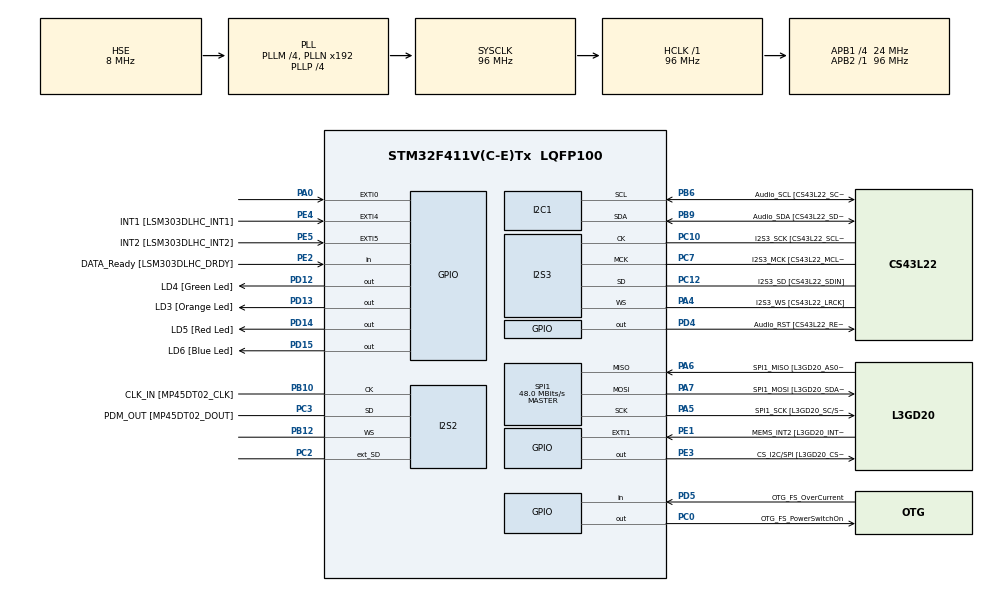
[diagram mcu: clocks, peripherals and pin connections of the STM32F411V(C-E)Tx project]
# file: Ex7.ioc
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FREERTOS.INCLUDE_vTaskDelayUntil=1
FREERTOS.Tasks01=FlashGreenLed,0,128,StartFlashGreenLedTask,Default,NULL,Dynamic,NULL,NULL;FlashRedLed,0,128,StartFlashRedLedTask,Default,NULL,Dynamic,NULL,NULL;FlashOrangeLed,1,128,StartFlashOrangeLedTask,Default,NULL,Dynamic,NULL,NULL
FREERTOS.configUSE_NEWLIB_REENTRANT=1
I2S2.AudioFreq=I2S_AUDIOFREQ_96K
I2S2.ErrorAudioFreq=0.15 %
I2S2.FullDuplexMode=I2S_FULLDUPLEXMODE_ENABLE
I2S2.Instance=SPI$Index
I2S2.RealAudioFreq=96.153 KHz
I2S2.VirtualMode=I2S_MODE_MASTER
I2S3.AudioFreq=I2S_AUDIOFREQ_96K
I2S3.ErrorAudioFreq=-6.99 %
I2S3.FullDuplexMode=I2S_FULLDUPLEXMODE_DISABLE
I2S3.Instance=SPI$Index
I2S3.RealAudioFreq=89.285 KHz
I2S3.VirtualMode=I2S_MODE_MASTER
Mcu.Family=STM32F4
Mcu.Name=STM32F411V(C-E)Tx
Mcu.Package=LQFP100
NVIC.PriorityGroup=NVIC_PRIORITYGROUP_4
NVIC.TIM1_UP_TIM10_IRQn=true\:15\:0\:false\:false\:true\:false\:false\:true\:true
NVIC.TimeBase=TIM1_UP_TIM10_IRQn
NVIC.TimeBaseIP=TIM1
PA0-WKUP.GPIO_ModeDefaultEXTI=GPIO_MODE_EVT_RISING
PA0-WKUP.Signal=GPXTI0
PA10.GPIO_Label=OTG_FS_ID
PA10.Signal=USB_OTG_FS_ID
PA11.GPIO_Label=OTG_FS_DM
PA11.Signal=USB_OTG_FS_DM
PA12.GPIO_Label=OTG_FS_DP
PA12.Signal=USB_OTG_FS_DP
PA13.GPIO_Label=SWDIO
PA13.Mode=Serial_Wire
PA13.Signal=SYS_JTMS-SWDIO
PA14.GPIO_Label=SWCLK
PA14.Mode=Serial_Wire
PA14.Signal=SYS_JTCK-SWCLK
PA4.GPIO_Label=I2S3_WS [CS43L22_LRCK]
PA4.GPIO_Mode=GPIO_MODE_AF_PP
PA4.GPIO_PuPd=GPIO_NOPULL
PA4.GPIO_Speed=GPIO_SPEED_FREQ_LOW
PA4.Mode=Half_Duplex_Master
PA4.Signal=I2S3_WS
PA5.GPIO_Label=SPI1_SCK [L3GD20_SC/SPC]
PA5.Mode=Full_Duplex_Master
PA5.Signal=SPI1_SCK
PA6.GPIO_Label=SPI1_MISO [L3GD20_AS0/SDO]
PA6.Mode=Full_Duplex_Master
PA6.Signal=SPI1_MISO
PA7.GPIO_Label=SPI1_MOSI [L3GD20_SDA/SDI/SDO]
PA7.Mode=Full_Duplex_Master
PA7.Signal=SPI1_MOSI
PA9.GPIO_Label=VBUS_FS
PA9.Signal=USB_OTG_FS_VBUS
PB10.GPIO_Label=CLK_IN [MP45DT02_CLK]
PB10.Mode=Full_Duplex_Master
PB10.Signal=I2S2_CK
PB12.Mode=Full_Duplex_Master
PB12.Signal=I2S2_WS
PB3.GPIO_Label=SWO
PB3.Signal=SYS_JTDO-SWO
PB6.GPIO_Label=Audio_SCL [CS43L22_SCL]
PB6.GPIO_Mode=GPIO_MODE_AF_OD
PB6.GPIO_Pu=GPIO_PULLUP
PB6.GPIO_PuPd=GPIO_NOPULL
PB6.GPIO_Speed=GPIO_SPEED_FREQ_LOW
PB6.Mode=I2C
PB6.Signal=I2C1_SCL
PB9.GPIO_Label=Audio_SDA [CS43L22_SDA]
PB9.GPIO_Mode=GPIO_MODE_AF_OD
PB9.GPIO_Pu=GPIO_PULLUP
PB9.GPIO_PuPd=GPIO_NOPULL
PB9.GPIO_Speed=GPIO_SPEED_FREQ_LOW
PB9.Mode=I2C
PB9.Signal=I2C1_SDA
PC0.GPIO_Label=OTG_FS_PowerSwitchOn
PC0.PinState=GPIO_PIN_SET
PC0.Signal=GPIO_Output
PC10.GPIO_Label=I2S3_SCK [CS43L22_SCLK]
PC10.GPIO_Mode=GPIO_MODE_AF_PP
PC10.GPIO_PuPd=GPIO_NOPULL
PC10.GPIO_Speed=GPIO_SPEED_FREQ_LOW
PC10.Mode=Half_Duplex_Master
PC10.Signal=I2S3_CK
PC12.GPIO_Label=I2S3_SD [CS43L22_SDIN]
PC12.GPIO_Mode=GPIO_MODE_AF_PP
PC12.GPIO_PuPd=GPIO_NOPULL
PC12.GPIO_Speed=GPIO_SPEED_FREQ_LOW
PC12.Mode=Half_Duplex_Master
PC12.Signal=I2S3_SD
PC14-OSC32_IN.GPIO_Label=PC14-OSC32_IN
PC14-OSC32_IN.Mode=LSE-External-Oscillator
PC14-OSC32_IN.Signal=RCC_OSC32_IN
PC15-OSC32_OUT.GPIO_Label=PC15-OSC32_OUT
PC15-OSC32_OUT.Mode=LSE-External-Oscillator
PC15-OSC32_OUT.Signal=RCC_OSC32_OUT
PC2.Mode=Full_Duplex_Master
PC2.Signal=I2S2_ext_SD
PC3.GPIO_Label=PDM_OUT [MP45DT02_DOUT]
PC3.Mode=Full_Duplex_Master
PC3.Signal=I2S2_SD
PC7.GPIO_Label=I2S3_MCK [CS43L22_MCLK]
PC7.GPIO_Mode=GPIO_MODE_AF_PP
PC7.GPIO_PuPd=GPIO_NOPULL
PC7.GPIO_Speed=GPIO_SPEED_FREQ_LOW
PC7.Mode=Master_Clock_Activated
PC7.Signal=I2S3_MCK
PD12.GPIO_Label=LD4 [Green Led]
PD12.GPIO_PuPd=GPIO_NOPULL
PD12.GPIO_Speed=GPIO_SPEED_FREQ_LOW
PD12.Signal=GPIO_Output
PD13.GPIO_Label=LD3 [Orange Led]
PD13.GPIO_PuPd=GPIO_NOPULL
PD13.GPIO_Speed=GPIO_SPEED_FREQ_LOW
PD13.Signal=GPIO_Output
PD14.GPIO_Label=LD5 [Red Led]
PD14.GPIO_PuPd=GPIO_NOPULL
PD14.GPIO_Speed=GPIO_SPEED_FREQ_LOW
PD14.Signal=GPIO_Output
PD15.GPIO_Label=LD6 [Blue Led]
PD15.GPIO_PuPd=GPIO_NOPULL
PD15.GPIO_Speed=GPIO_SPEED_FREQ_LOW
PD15.Signal=GPIO_Output
PD4.GPIO_Label=Audio_RST [CS43L22_RESET]
PD4.Signal=GPIO_Output
PD5.GPIO_Label=OTG_FS_OverCurrent
PD5.Signal=GPIO_Input
PE1.GPIO_Label=MEMS_INT2 [L3GD20_INT2]
PE1.GPIO_ModeDefaultEXTI=GPIO_MODE_EVT_RISING
PE1.Signal=GPXTI1
PE2.GPIO_Label=DATA_Ready [LSM303DLHC_DRDY]
PE2.Signal=GPIO_Input
PE3.GPIO_Label=CS_I2C/SPI [L3GD20_CS_I2C/SPI]
PE3.Signal=GPIO_Output
PE4.GPIO_Label=INT1 [LSM303DLHC_INT1]
PE4.GPIO_ModeDefaultEXTI=GPIO_MODE_EVT_RISING
PE4.Signal=GPXTI4
PE5.GPIO_Label=INT2 [LSM303DLHC_INT2]
PE5.GPIO_ModeDefaultEXTI=GPIO_MODE_EVT_RISING
PE5.Signal=GPXTI5
PH0\ -\ OSC_IN.GPIO_Label=PH0-OSC_IN
PH0\ -\ OSC_IN.Mode=HSE-External-Oscillator
PH0\ -\ OSC_IN.Signal=RCC_OSC_IN
PH1\ -\ OSC_OUT.GPIO_Label=PH1-OSC_OUT
PH1\ -\ OSC_OUT.Mode=HSE-External-Oscillator
PH1\ -\ OSC_OUT.Signal=RCC_OSC_OUT
ProjectManager.HeapSize=0x200
ProjectManager.StackSize=0x400
ProjectManager.TargetToolchain=STM32CubeIDE
RCC.48MHZClocksFreq_Value=48000000
RCC.AHBFreq_Value=96000000
RCC.APB1CLKDivider=RCC_HCLK_DIV4
RCC.APB1Freq_Value=24000000
RCC.APB1TimFreq_Value=48000000
RCC.APB2Freq_Value=96000000
RCC.APB2TimFreq_Value=96000000
RCC.CortexFreq_Value=96000000
RCC.HCLKFreq_Value=96000000
RCC.HSE_VALUE=8000000
RCC.HSI_VALUE=16000000
RCC.PLLI2SM=5
RCC.PLLI2SN=200
RCC.PLLM=4
RCC.PLLP=RCC_PLLP_DIV4
RCC.PLLQ=8
RCC.PLLSourceVirtual=RCC_PLLSOURCE_HSE
RCC.SYSCLKFreq_VALUE=96000000
RCC.SYSCLKSource=RCC_SYSCLKSOURCE_PLLCLK
RCC.VCOOutputFreq_Value=384000000
SPI1.BaudRatePrescaler=SPI_BAUDRATEPRESCALER_2
SPI1.CalculateBaudRate=48.0 MBits/s
SPI1.Direction=SPI_DIRECTION_2LINES
SPI1.Mode=SPI_MODE_MASTER
SPI1.VirtualType=VM_MASTER
VP_FREERTOS_VS_CMSIS_V1.Mode=CMSIS_V1
VP_SYS_VS_tim1.Mode=TIM1
board=STM32F411E-DISCO

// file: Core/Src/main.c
/* USER CODE BEGIN Header */
/**
  ******************************************************************************
  * @file           : main.c
  * @brief          : Main program body
  ******************************************************************************
  * @attention
  *
  * Copyright (c) 2024 STMicroelectronics.
  * All rights reserved.
  *
  * This software is licensed under terms that can be found in the LICENSE file
  * in the root directory of this software component.
  * If no LICENSE file comes with this software, it is provided AS-IS.
  *
  ******************************************************************************
  */
/* USER CODE END Header */
#include "main.h"
#include "cmsis_os.h"

/* USER CODE BEGIN PD */
#define GREEN_LED GPIO_PIN_12
#define ORANGE_LED GPIO_PIN_13
#define RED_LED GPIO_PIN_14
#define BLUE_LED GPIO_PIN_15
/* USER CODE END PD */

I2C_HandleTypeDef hi2c1;

I2S_HandleTypeDef hi2s2;
I2S_HandleTypeDef hi2s3;

SPI_HandleTypeDef hspi1;

osThreadId FlashGreenLedHandle;
osThreadId FlashRedLedHandle;
osThreadId FlashOrangeLedHandle;

void SystemClock_Config(void);
void PeriphCommonClock_Config(void);
static void MX_GPIO_Init(void);
static void MX_I2C1_Init(void);
static void MX_I2S2_Init(void);
static void MX_I2S3_Init(void);
static void MX_SPI1_Init(void);
void StartFlashGreenLedTask(void const * argument);
void StartFlashRedLedTask(void const * argument);
void StartFlashOrangeLedTask(void const * argument);

int main(void)
{

  /* MCU Configuration--------------------------------------------------------*/

  /* Reset of all peripherals, Initializes the Flash interface and the Systick. */
  HAL_Init();

  /* Configure the system clock */
  SystemClock_Config();

/* Configure the peripherals common clocks */
  PeriphCommonClock_Config();

  /* Initialize all configured peripherals */
  MX_GPIO_Init();
  MX_I2C1_Init();
  MX_I2S2_Init();
  MX_I2S3_Init();
  MX_SPI1_Init();

  /* Create the thread(s) */
  /* definition and creation of FlashGreenLed */
  osThreadDef(FlashGreenLed, StartFlashGreenLedTask, osPriorityNormal, 0, 128);
  FlashGreenLedHandle = osThreadCreate(osThread(FlashGreenLed), NULL);

  /* definition and creation of FlashRedLed */
  osThreadDef(FlashRedLed, StartFlashRedLedTask, osPriorityNormal, 0, 128);
  FlashRedLedHandle = osThreadCreate(osThread(FlashRedLed), NULL);

  /* definition and creation of FlashOrangeLed */
  osThreadDef(FlashOrangeLed, StartFlashOrangeLedTask, osPriorityAboveNormal, 0, 128);
  FlashOrangeLedHandle = osThreadCreate(osThread(FlashOrangeLed), NULL);

  /* Start scheduler */
  osKernelStart();

  /* We should never get here as control is now taken by the scheduler */
  /* Infinite loop */
  while (1)
  {

  }
}

void SystemClock_Config(void)
{
  RCC_OscInitTypeDef RCC_OscInitStruct = {0};
  RCC_ClkInitTypeDef RCC_ClkInitStruct = {0};

  /** Configure the main internal regulator output voltage
  */
  __HAL_RCC_PWR_CLK_ENABLE();
  __HAL_PWR_VOLTAGESCALING_CONFIG(PWR_REGULATOR_VOLTAGE_SCALE1);

  /** Initializes the RCC Oscillators according to the specified parameters
  * in the RCC_OscInitTypeDef structure.
  */
  RCC_OscInitStruct.OscillatorType = RCC_OSCILLATORTYPE_HSE;
  RCC_OscInitStruct.HSEState = RCC_HSE_ON;
  RCC_OscInitStruct.PLL.PLLState = RCC_PLL_ON;
  RCC_OscInitStruct.PLL.PLLSource = RCC_PLLSOURCE_HSE;
  RCC_OscInitStruct.PLL.PLLM = 4;
  RCC_OscInitStruct.PLL.PLLN = 192;
  RCC_OscInitStruct.PLL.PLLP = RCC_PLLP_DIV4;
  RCC_OscInitStruct.PLL.PLLQ = 8;
  if (HAL_RCC_OscConfig(&RCC_OscInitStruct) != HAL_OK)
  {
    Error_Handler();
  }

  /** Initializes the CPU, AHB and APB buses clocks
  */
  RCC_ClkInitStruct.ClockType = RCC_CLOCKTYPE_HCLK|RCC_CLOCKTYPE_SYSCLK
                              |RCC_CLOCKTYPE_PCLK1|RCC_CLOCKTYPE_PCLK2;
  RCC_ClkInitStruct.SYSCLKSource = RCC_SYSCLKSOURCE_PLLCLK;
  RCC_ClkInitStruct.AHBCLKDivider = RCC_SYSCLK_DIV1;
  RCC_ClkInitStruct.APB1CLKDivider = RCC_HCLK_DIV4;
  RCC_ClkInitStruct.APB2CLKDivider = RCC_HCLK_DIV1;

  if (HAL_RCC_ClockConfig(&RCC_ClkInitStruct, FLASH_LATENCY_3) != HAL_OK)
  {
    Error_Handler();
  }
}

void PeriphCommonClock_Config(void)
{
  RCC_PeriphCLKInitTypeDef PeriphClkInitStruct = {0};

  /** Initializes the peripherals clock
  */
  PeriphClkInitStruct.PeriphClockSelection = RCC_PERIPHCLK_I2S;
  PeriphClkInitStruct.PLLI2S.PLLI2SN = 200;
  PeriphClkInitStruct.PLLI2S.PLLI2SM = 5;
  PeriphClkInitStruct.PLLI2S.PLLI2SR = 2;
  if (HAL_RCCEx_PeriphCLKConfig(&PeriphClkInitStruct) != HAL_OK)
  {
    Error_Handler();
  }
}

static void MX_I2C1_Init(void)
{

  hi2c1.Instance = I2C1;
  hi2c1.Init.ClockSpeed = 100000;
  hi2c1.Init.DutyCycle = I2C_DUTYCYCLE_2;
  hi2c1.Init.OwnAddress1 = 0;
  hi2c1.Init.AddressingMode = I2C_ADDRESSINGMODE_7BIT;
  hi2c1.Init.DualAddressMode = I2C_DUALADDRESS_DISABLE;
  hi2c1.Init.OwnAddress2 = 0;
  hi2c1.Init.GeneralCallMode = I2C_GENERALCALL_DISABLE;
  hi2c1.Init.NoStretchMode = I2C_NOSTRETCH_DISABLE;
  if (HAL_I2C_Init(&hi2c1) != HAL_OK)
  {
    Error_Handler();
  }

}

static void MX_I2S2_Init(void)
{

  hi2s2.Instance = SPI2;
  hi2s2.Init.Mode = I2S_MODE_MASTER_TX;
  hi2s2.Init.Standard = I2S_STANDARD_PHILIPS;
  hi2s2.Init.DataFormat = I2S_DATAFORMAT_16B;
  hi2s2.Init.MCLKOutput = I2S_MCLKOUTPUT_DISABLE;
  hi2s2.Init.AudioFreq = I2S_AUDIOFREQ_96K;
  hi2s2.Init.CPOL = I2S_CPOL_LOW;
  hi2s2.Init.ClockSource = I2S_CLOCK_PLL;
  hi2s2.Init.FullDuplexMode = I2S_FULLDUPLEXMODE_ENABLE;
  if (HAL_I2S_Init(&hi2s2) != HAL_OK)
  {
    Error_Handler();
  }

}

static void MX_I2S3_Init(void)
{

  hi2s3.Instance = SPI3;
  hi2s3.Init.Mode = I2S_MODE_MASTER_TX;
  hi2s3.Init.Standard = I2S_STANDARD_PHILIPS;
  hi2s3.Init.DataFormat = I2S_DATAFORMAT_16B;
  hi2s3.Init.MCLKOutput = I2S_MCLKOUTPUT_ENABLE;
  hi2s3.Init.AudioFreq = I2S_AUDIOFREQ_96K;
  hi2s3.Init.CPOL = I2S_CPOL_LOW;
  hi2s3.Init.ClockSource = I2S_CLOCK_PLL;
  hi2s3.Init.FullDuplexMode = I2S_FULLDUPLEXMODE_DISABLE;
  if (HAL_I2S_Init(&hi2s3) != HAL_OK)
  {
    Error_Handler();
  }

}

static void MX_SPI1_Init(void)
{

  /* SPI1 parameter configuration*/
  hspi1.Instance = SPI1;
  hspi1.Init.Mode = SPI_MODE_MASTER;
  hspi1.Init.Direction = SPI_DIRECTION_2LINES;
  hspi1.Init.DataSize = SPI_DATASIZE_8BIT;
  hspi1.Init.CLKPolarity = SPI_POLARITY_LOW;
  hspi1.Init.CLKPhase = SPI_PHASE_1EDGE;
  hspi1.Init.NSS = SPI_NSS_SOFT;
  hspi1.Init.BaudRatePrescaler = SPI_BAUDRATEPRESCALER_2;
  hspi1.Init.FirstBit = SPI_FIRSTBIT_MSB;
  hspi1.Init.TIMode = SPI_TIMODE_DISABLE;
  hspi1.Init.CRCCalculation = SPI_CRCCALCULATION_DISABLE;
  hspi1.Init.CRCPolynomial = 10;
  if (HAL_SPI_Init(&hspi1) != HAL_OK)
  {
    Error_Handler();
  }

}

static void MX_GPIO_Init(void)
{
  GPIO_InitTypeDef GPIO_InitStruct = {0};

  /* GPIO Ports Clock Enable */
  __HAL_RCC_GPIOE_CLK_ENABLE();
  __HAL_RCC_GPIOC_CLK_ENABLE();
  __HAL_RCC_GPIOH_CLK_ENABLE();
  __HAL_RCC_GPIOA_CLK_ENABLE();
  __HAL_RCC_GPIOB_CLK_ENABLE();
  __HAL_RCC_GPIOD_CLK_ENABLE();

  /*Configure GPIO pin Output Level */
  HAL_GPIO_WritePin(CS_I2C_SPI_GPIO_Port, CS_I2C_SPI_Pin, GPIO_PIN_RESET);

  /*Configure GPIO pin Output Level */
  HAL_GPIO_WritePin(OTG_FS_PowerSwitchOn_GPIO_Port, OTG_FS_PowerSwitchOn_Pin, GPIO_PIN_SET);

  /*Configure GPIO pin Output Level */
  HAL_GPIO_WritePin(GPIOD, LD4_Pin|LD3_Pin|LD5_Pin|LD6_Pin
                          |Audio_RST_Pin, GPIO_PIN_RESET);

  /*Configure GPIO pin : DATA_Ready_Pin */
  GPIO_InitStruct.Pin = DATA_Ready_Pin;
  GPIO_InitStruct.Mode = GPIO_MODE_INPUT;
  GPIO_InitStruct.Pull = GPIO_NOPULL;
  HAL_GPIO_Init(DATA_Ready_GPIO_Port, &GPIO_InitStruct);

  /*Configure GPIO pin : CS_I2C_SPI_Pin */
  GPIO_InitStruct.Pin = CS_I2C_SPI_Pin;
  GPIO_InitStruct.Mode = GPIO_MODE_OUTPUT_PP;
  GPIO_InitStruct.Pull = GPIO_NOPULL;
  GPIO_InitStruct.Speed = GPIO_SPEED_FREQ_LOW;
  HAL_GPIO_Init(CS_I2C_SPI_GPIO_Port, &GPIO_InitStruct);

  /*Configure GPIO pins : INT1_Pin INT2_Pin MEMS_INT2_Pin */
  GPIO_InitStruct.Pin = INT1_Pin|INT2_Pin|MEMS_INT2_Pin;
  GPIO_InitStruct.Mode = GPIO_MODE_EVT_RISING;
  GPIO_InitStruct.Pull = GPIO_NOPULL;
  HAL_GPIO_Init(GPIOE, &GPIO_InitStruct);

  /*Configure GPIO pin : OTG_FS_PowerSwitchOn_Pin */
  GPIO_InitStruct.Pin = OTG_FS_PowerSwitchOn_Pin;
  GPIO_InitStruct.Mode = GPIO_MODE_OUTPUT_PP;
  GPIO_InitStruct.Pull = GPIO_NOPULL;
  GPIO_InitStruct.Speed = GPIO_SPEED_FREQ_LOW;
  HAL_GPIO_Init(OTG_FS_PowerSwitchOn_GPIO_Port, &GPIO_InitStruct);

  /*Configure GPIO pin : PA0 */
  GPIO_InitStruct.Pin = GPIO_PIN_0;
  GPIO_InitStruct.Mode = GPIO_MODE_EVT_RISING;
  GPIO_InitStruct.Pull = GPIO_NOPULL;
  HAL_GPIO_Init(GPIOA, &GPIO_InitStruct);

  /*Configure GPIO pins : LD4_Pin LD3_Pin LD5_Pin LD6_Pin
                           Audio_RST_Pin */
  GPIO_InitStruct.Pin = LD4_Pin|LD3_Pin|LD5_Pin|LD6_Pin
                          |Audio_RST_Pin;
  GPIO_InitStruct.Mode = GPIO_MODE_OUTPUT_PP;
  GPIO_InitStruct.Pull = GPIO_NOPULL;
  GPIO_InitStruct.Speed = GPIO_SPEED_FREQ_LOW;
  HAL_GPIO_Init(GPIOD, &GPIO_InitStruct);

  /*Configure GPIO pin : VBUS_FS_Pin */
  GPIO_InitStruct.Pin = VBUS_FS_Pin;
  GPIO_InitStruct.Mode = GPIO_MODE_INPUT;
  GPIO_InitStruct.Pull = GPIO_NOPULL;
  HAL_GPIO_Init(VBUS_FS_GPIO_Port, &GPIO_InitStruct);

  /*Configure GPIO pins : OTG_FS_ID_Pin OTG_FS_DM_Pin OTG_FS_DP_Pin */
  GPIO_InitStruct.Pin = OTG_FS_ID_Pin|OTG_FS_DM_Pin|OTG_FS_DP_Pin;
  GPIO_InitStruct.Mode = GPIO_MODE_AF_PP;
  GPIO_InitStruct.Pull = GPIO_NOPULL;
  GPIO_InitStruct.Speed = GPIO_SPEED_FREQ_VERY_HIGH;
  GPIO_InitStruct.Alternate = GPIO_AF10_OTG_FS;
  HAL_GPIO_Init(GPIOA, &GPIO_InitStruct);

  /*Configure GPIO pin : OTG_FS_OverCurrent_Pin */
  GPIO_InitStruct.Pin = OTG_FS_OverCurrent_Pin;
  GPIO_InitStruct.Mode = GPIO_MODE_INPUT;
  GPIO_InitStruct.Pull = GPIO_NOPULL;
  HAL_GPIO_Init(OTG_FS_OverCurrent_GPIO_Port, &GPIO_InitStruct);

}

/* USER CODE BEGIN 4 */
int Start_Flag = 1;
void Access_Function(){
	if(Start_Flag == 1){
		Start_Flag = 0;
	}else {
		HAL_GPIO_TogglePin(GPIOD, BLUE_LED);
	}//else
	for(int i=0;i<2000000;++i);
	Start_Flag = 1;
	return;
}//access function
/* USER CODE END 4 */

void StartFlashGreenLedTask(void const * argument)
{
  /* USER CODE BEGIN 5 */
  /* Infinite loop */
  for(;;)
  {
	  /*Exercise 7*/
	  HAL_GPIO_WritePin(GPIOD, GREEN_LED, GPIO_PIN_SET);//green on
	  taskENTER_CRITICAL();
	  Access_Function();//access shared data
	  taskEXIT_CRITICAL();
	  osDelay(200);//200 Millisecond delay
	  HAL_GPIO_WritePin(GPIOD, GREEN_LED, GPIO_PIN_RESET);//green off
	  osDelay(200);//200 Millisecond delay
	  /**/
  }
  /* USER CODE END 5 */
}

void StartFlashRedLedTask(void const * argument)
{
  /* USER CODE BEGIN StartFlashRedLedTask */
  /* Infinite loop */
  for(;;)
  {
	  /*Exercise 7*/
	  HAL_GPIO_WritePin(GPIOD, RED_LED, GPIO_PIN_SET);//red on
	  taskENTER_CRITICAL();
	  Access_Function();//access shared data
	  taskEXIT_CRITICAL();
	  osDelay(550);//550 Millisecond delay
	  HAL_GPIO_WritePin(GPIOD, RED_LED, GPIO_PIN_RESET);//red off
	  osDelay(550);//550 Millisecond delay
	  /**/
  }
  /* USER CODE END StartFlashRedLedTask */
}

void StartFlashOrangeLedTask(void const * argument)
{
  /* USER CODE BEGIN StartFlashOrangeLedTask */
  /* Infinite loop */
  for(;;)
  {
	  HAL_GPIO_TogglePin(GPIOD, ORANGE_LED);//orange on
	  osDelay(50);//50 Millisecond delay
  }
  /* USER CODE END StartFlashOrangeLedTask */
}

void HAL_TIM_PeriodElapsedCallback(TIM_HandleTypeDef *htim)
{
  if (htim->Instance == TIM1) {
    HAL_IncTick();
  }
}

void Error_Handler(void)
{
  __disable_irq();
  while (1)
  {
  }
}
